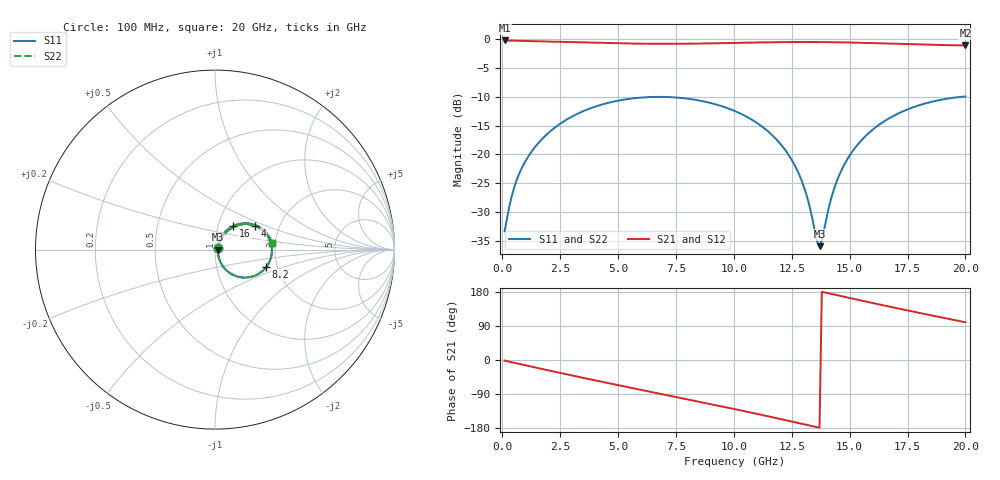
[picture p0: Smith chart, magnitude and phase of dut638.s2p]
! Touchstone file exported from HFSS 2026.1.0
!  File:  C:/ffzhzh/LocalFiles/Ansys_Project_Files/temp_train_TSV_RDL_638_1783127194_35180.aedt
!  Generated:  09:17:47 AM Jul  4, 2026
!  Design:  TSV_RDL
!  Project:  temp_train_TSV_RDL_638_1783127194_35180
! Variables:
!  h_bsmrdl = 2.51um
!  h_ox = 20um
!  h_rdl = 5um
!  h_sub = 84.89um
!  h_tmrdl = 3.42um
!  h_tsv = 84.89um
!  h_via = 3um
!  l_bsmrdl = 866.96um
!  l_sub = 4316.5um
!  l_tmrdl = 287.01um
!  m_sub = 200um
!  pitch = 41.71um
!  r_tsv = 10.42um
!  s_tmrdl = 10um
!  w_bsmrdl = 27.29um
!  w_sub = 500um
!  w_tmrdl = 28.57um
!  x_tsv_center1 = 301.295um
!  x_tsv_center2 = 1195.545um
!  x_tsv_center3 = 1511.125um
!  x_tsv_center4 = 2405.375um
!  x_tsv_center5 = 2720.955um
!  x_tsv_center6 = 3615.205um
# GHz S MA R 50.000000
! Terminal data exported
! Port[1] = TM_RDL1_1_T1
! Port[2] = TM_RDL5_1_T1
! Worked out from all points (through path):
!   200 points, 100 MHz to 20 GHz, reference 50 ohm
!   highest |S21| = -0.17 dB at 100 MHz (marker M1); lowest = -1.0 dB at 20 GHz (marker M2)
!   group delay of S21, straight-line fit = 36.1 ps
!   lowest |S11| = -35.9 dB at 13.7 GHz (marker M3), VSWR 1.03, Z = 51.6 + j0.00885 ohm
!   |S11| at or under -10 dB: start of sweep to 6.458 GHz; 7.085 GHz to 19.76 GHz (12.68 GHz wide, 94.5 % of centre)
!   |S22| runs from -35.7 to -9.9 dB; largest |S21 - S12| = 1.7e-14
!   S11 on the Smith chart (normalised r, x): 100 MHz: 1.04, +0.02; 4 GHz: 1.51, +0.43; 8.2 GHz: 1.75, -0.37; 16 GHz: 1.18, +0.32; 20 GHz: 1.92, +0.16
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0.1  0.02151 26.2  0.9809 -1.5  0.9809 -1.5  0.02151 26.2
! Gamma 0 0 0 0
! Port Impedance 50 0 50 0
0.6  0.0583 58.8  0.9736 -8.6  0.9736 -8.6  0.05804 59.0
1.2  0.1015 58.1  0.9675 -16.7  0.9675 -16.7  0.1014 58.2
2.2  0.1671 50.1  0.9575 -30.1  0.9575 -30.1  0.1671 50.1
3.5  0.2384 36.1  0.942 -47.2  0.942 -47.2  0.2384 36.1
4  0.2603 30.3  0.9362 -53.7  0.9362 -53.7  0.2603 30.3
6.8  0.317 -2.3  0.9174 -88.7  0.9174 -88.7  0.317 -2.3
8.2  0.3018 -18.8  0.9204 -106.1  0.9204 -106.1  0.3018 -18.8
10.1  0.236 -41.2  0.9344 -130.3  0.9344 -130.3  0.2359 -41.2
11.4  0.1637 -56.1  0.9449 -147.5  0.9449 -147.5  0.1636 -56.0
12.3  0.1037 -64.6  0.9498 -159.6  0.9498 -159.6  0.1038 -64.5
12.9  0.06126 -66.3  0.9511 -167.8  0.9511 -167.8  0.06131 -66.0
13.4  0.0271 -51.9  0.9508 -174.6  0.9508 -174.6  0.0273 -51.2
13.6  0.01736 -24.0  0.9504 -177.3  0.9504 -177.3  0.01774 -23.4
13.7  0.01595 0.3  0.9501 -178.7  0.9501 -178.7  0.01638 0.4
14.2  0.0413 58.8  0.9478 174.5  0.9478 174.5  0.04153 58.2
14.6  0.06951 63.0  0.945 169.1  0.945 169.1  0.06968 62.5
15.2  0.1117 60.2  0.9396 161.0  0.9396 161.0  0.1119 59.9
16  0.1646 52.5  0.9305 150.3  0.9305 150.3  0.1647 52.3
16.7  0.206 44.8  0.9216 141.1  0.9216 141.1  0.2061 44.5
18.3  0.2791 26.3  0.9015 120.6  0.9015 120.6  0.2792 26.1
20  0.3195 6.7  0.8878 99.5  0.8878 99.5  0.3195 6.5
